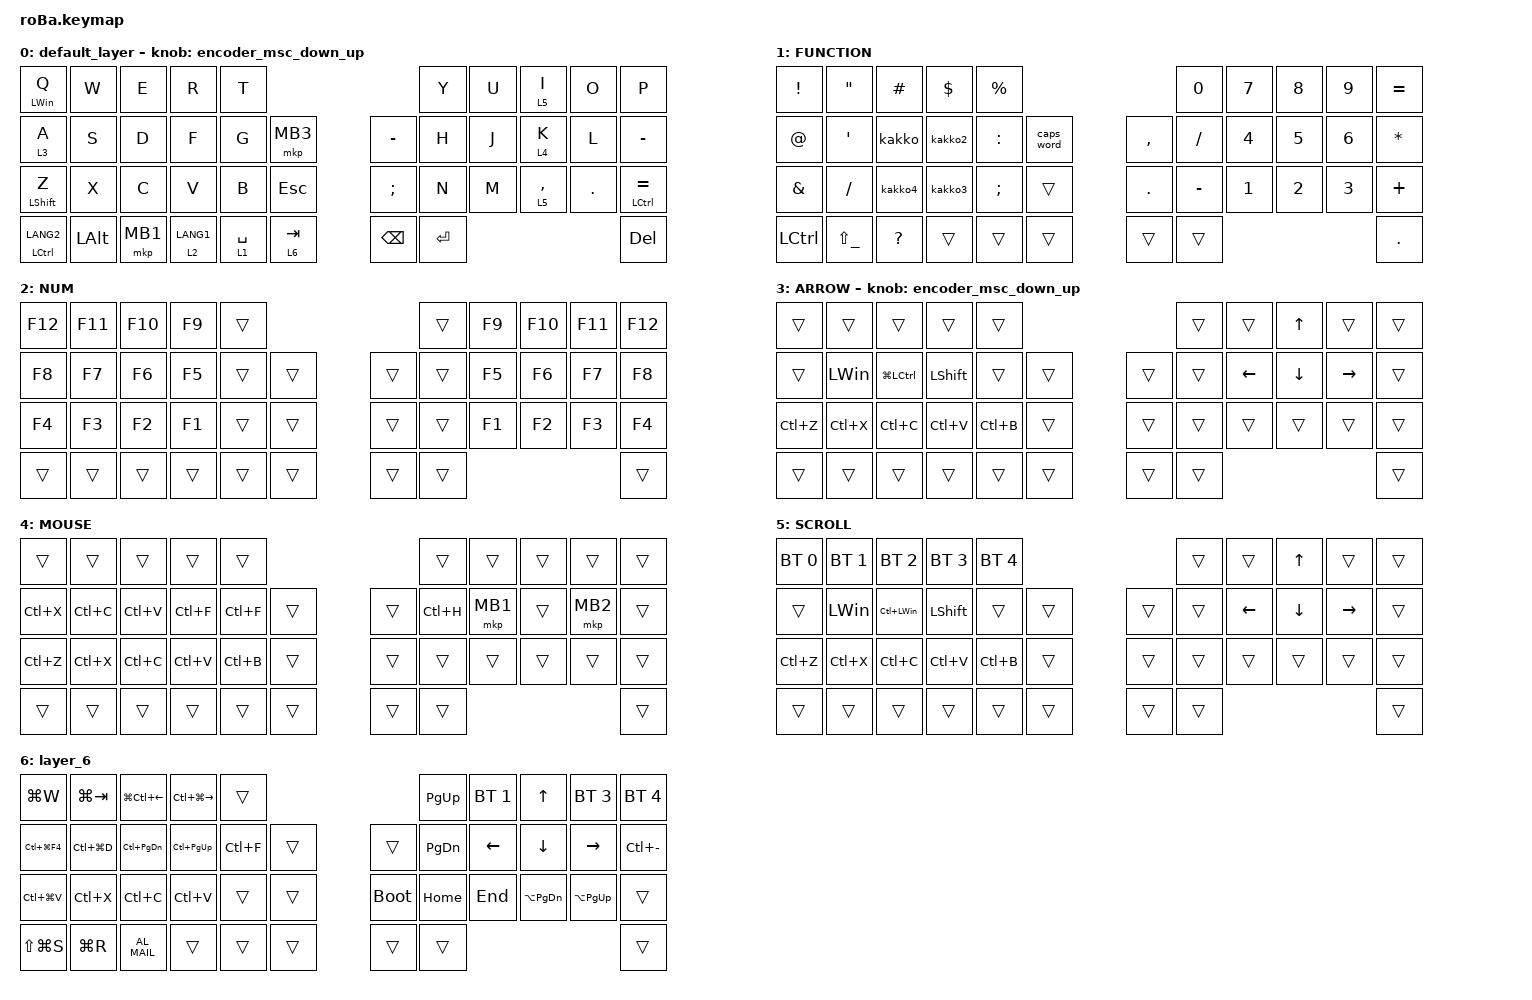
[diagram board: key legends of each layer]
#include <behaviors.dtsi>
#include <dt-bindings/zmk/bt.h>
#include <dt-bindings/zmk/keys.h>
#include <dt-bindings/zmk/pointing.h>

#define ZMK_POINTING_DEFAULT_SCRL_VAL 80

&mt {
    flavor = "balanced";
    quick-tap-ms = <0>;
};

/ {
    combos { compatible = "zmk,combos"; };

    macros {
        to_layer_0: to_layer_0 {
            compatible = "zmk,behavior-macro-one-param";
            #binding-cells = <1>;
            bindings = <&to 0 &macro_param_1to1 &kp MACRO_PLACEHOLDER>;
            label = "TO_LAYER_0";
        };

        dc: dc {
            compatible = "zmk,behavior-macro";
            #binding-cells = <0>;
            bindings = <&mkp MB1 &mkp MB1>;
            label = "DC";
        };

        kakko: kakko {
            compatible = "zmk,behavior-macro";
            #binding-cells = <0>;
            bindings = <&kp LEFT_PARENTHESIS &kp RIGHT_PARENTHESIS &kp LEFT_ARROW>;
            label = "KAKKO";
        };

        kakko2: kakko2 {
            compatible = "zmk,behavior-macro";
            #binding-cells = <0>;
            bindings = <&kp LEFT_BRACKET &kp RIGHT_BRACKET &kp LEFT_ARROW>;
            label = "KAKKO2";
        };

        kakko3: kakko3 {
            compatible = "zmk,behavior-macro";
            #binding-cells = <0>;
            bindings = <&kp LEFT_BRACE &kp RIGHT_BRACE &kp LEFT_ARROW>;
            label = "KAKKO3";
        };

        kakko4: kakko4 {
            compatible = "zmk,behavior-macro";
            #binding-cells = <0>;
            bindings = <&kp LESS_THAN &kp GREATER_THAN &kp LEFT_ARROW>;
            label = "KAKKO4";
        };
    };

    behaviors {
        lt_to_layer_0: lt_to_layer_0 {
            compatible = "zmk,behavior-hold-tap";
            label = "LAYER_TAP_TO_0";
            bindings = <&mo>, <&to_layer_0>;

            #binding-cells = <2>;
            tapping-term-ms = <200>;
        };

        encoder_msc_down_up: encoder_msc_down_up {
            compatible = "zmk,behavior-sensor-rotate";
            label = "ENCODER_MSC_DOWN_UP";
            #sensor-binding-cells = <0>;
            bindings = <&msc SCRL_UP>, <&msc SCRL_DOWN>;

            tap-ms = <20>;
        };
    };

    keymap {
        compatible = "zmk,keymap";

        default_layer {
            bindings = <
&mt LEFT_WIN Q          &kp W         &kp E     &kp R        &kp T                                                 &kp Y      &kp U  &lt 5 I      &kp O    &kp P
&lt 3 A                 &kp S         &kp D     &kp F        &kp G        &mkp MB3                  &kp MINUS      &kp H      &kp J  &lt 4 K      &kp L    &kp MINUS
&mt LEFT_SHIFT Z        &kp X         &kp C     &kp V        &kp B        &kp ESCAPE                &kp SEMICOLON  &kp N      &kp M  &lt 5 COMMA  &kp DOT  &mt LEFT_CONTROL EQUAL
&mt LEFT_CONTROL LANG2  &kp LEFT_ALT  &mkp MB1  &lt 2 LANG1  &lt 1 SPACE  &lt_to_layer_0 6 TAB      &kp BACKSPACE  &kp ENTER                               &kp DEL
            >;

            sensor-bindings = <&encoder_msc_down_up>;
        };

        FUNCTION {
            bindings = <
&kp EXCLAMATION  &kp DOUBLE_QUOTES   &kp HASH      &kp DOLLAR  &kp PERCENT                                &kp NUMBER_0  &kp NUMBER_7  &kp NUMBER_8  &kp NUMBER_9  &kp EQUAL
&kp AT_SIGN      &kp SQT             &kakko        &kakko2     &kp COLON      &caps_word      &kp COMMA   &kp SLASH     &kp NUMBER_4  &kp N5        &kp NUMBER_6  &kp ASTERISK
&kp AMPERSAND    &kp SLASH           &kakko4       &kakko3     &kp SEMICOLON  &trans          &kp PERIOD  &kp MINUS     &kp NUMBER_1  &kp NUMBER_2  &kp NUMBER_3  &kp PLUS
&kp LCTRL        &kp LS(UNDERSCORE)  &kp QUESTION  &trans      &trans         &trans          &trans      &trans                                                  &kp DOT
            >;
        };

        NUM {
            bindings = <
&kp F12  &kp F11  &kp F10  &kp F9  &trans                      &trans  &kp F9  &kp F10  &kp F11  &kp F12
&kp F8   &kp F7   &kp F6   &kp F5  &trans  &trans      &trans  &trans  &kp F5  &kp F6   &kp F7   &kp F8
&kp F4   &kp F3   &kp F2   &kp F1  &trans  &trans      &trans  &trans  &kp F1  &kp F2   &kp F3   &kp F4
&trans   &trans   &trans   &trans  &trans  &trans      &trans  &trans                            &trans
            >;
        };

        ARROW {
            bindings = <
&trans     &trans        &trans                &trans          &trans                         &trans  &trans    &kp UP_ARROW    &trans     &trans
&trans     &kp LEFT_WIN  &kp LG(LEFT_CONTROL)  &kp LEFT_SHIFT  &trans     &trans      &trans  &trans  &kp LEFT  &kp DOWN_ARROW  &kp RIGHT  &trans
&kp LC(Z)  &kp LC(X)     &kp LC(C)             &kp LC(V)       &kp LC(B)  &trans      &trans  &trans  &trans    &trans          &trans     &trans
&trans     &trans        &trans                &trans          &trans     &trans      &trans  &trans                                       &trans
            >;

            sensor-bindings = <&encoder_msc_down_up>;
        };

        MOUSE {
            bindings = <
&trans     &trans     &trans     &trans     &trans                         &trans     &trans    &trans  &trans    &trans
&kp LC(X)  &kp LC(C)  &kp LC(V)  &kp LC(F)  &kp LC(F)  &trans      &trans  &kp LC(H)  &mkp MB1  &trans  &mkp MB2  &trans
&kp LC(Z)  &kp LC(X)  &kp LC(C)  &kp LC(V)  &kp LC(B)  &trans      &trans  &trans     &trans    &trans  &trans    &trans
&trans     &trans     &trans     &trans     &trans     &trans      &trans  &trans                                 &trans
            >;
        };

        SCROLL {
            bindings = <
&bt BT_SEL 0  &bt BT_SEL 1  &bt BT_SEL 2      &bt BT_SEL 3    &bt BT_SEL 4                      &trans  &trans    &kp UP_ARROW  &trans     &trans
&trans        &kp LEFT_WIN  &kp LC(LEFT_WIN)  &kp LEFT_SHIFT  &trans        &trans      &trans  &trans  &kp LEFT  &kp DOWN      &kp RIGHT  &trans
&kp LC(Z)     &kp LC(X)     &kp LC(C)         &kp LC(V)       &kp LC(B)     &trans      &trans  &trans  &trans    &trans        &trans     &trans
&trans        &trans        &trans            &trans          &trans        &trans      &trans  &trans                                     &trans
            >;
        };

        layer_6 {
            bindings = <
&kp LG(W)       &kp LG(TAB)    &kp LG(LC(LEFT))   &kp LC(LG(RIGHT))  &trans                              &kp PAGE_UP    &bt BT_SEL 1  &kp UP_ARROW       &bt BT_SEL 3     &bt BT_SEL 4
&kp LC(LG(F4))  &kp LC(LG(D))  &kp LC(PAGE_DOWN)  &kp LC(PAGE_UP)    &kp LC(F)  &trans      &trans       &kp PAGE_DOWN  &kp LEFT      &kp DOWN_ARROW     &kp RIGHT        &kp LC(MINUS)
&kp LC(LG(V))   &kp LC(X)      &kp LC(C)          &kp LC(V)          &trans     &trans      &bootloader  &kp HOME       &kp END       &kp LA(PAGE_DOWN)  &kp LA(PAGE_UP)  &trans
&kp LS(LG(S))   &kp LG(R)      &kp C_AL_MAIL      &trans             &trans     &trans      &trans       &trans                                                           &trans
            >;
        };
    };
};
